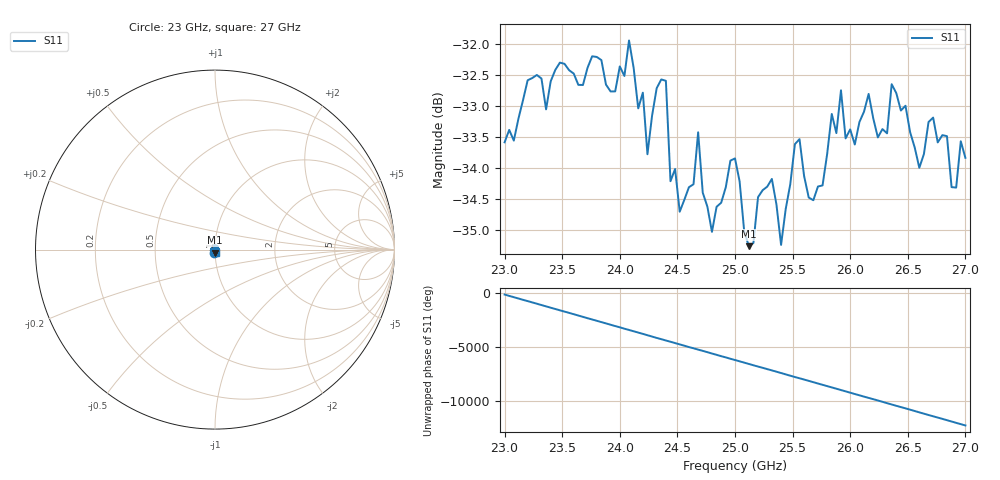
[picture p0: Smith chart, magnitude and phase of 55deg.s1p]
#  HZ  S  RI  R  50.00
! Rohde & Schwarz ZVA40 4Ports - Version 3.90 - 1145.1110k42 SN: 100403
! Date: 2023-09-26 10:44:48
! Measurement: S12
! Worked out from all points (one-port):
!   101 points, 23 GHz to 27 GHz, reference 50 ohm
!   lowest |S11| = -35.3 dB at 25.12 GHz (marker M1), VSWR 1.04, Z = 49.8 - j1.71 ohm
!   |S11| at or under -10 dB: start of sweep to end of sweep
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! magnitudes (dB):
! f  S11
! 23 GHz  -33.6
! 23.52 GHz  -32.3
! 24 GHz  -32.4
! 24.08 GHz  -31.9
! 24.2 GHz  -32.8
! 24.24 GHz  -33.8
! 24.4 GHz  -32.6
! 24.44 GHz  -34.2
! 24.52 GHz  -34.7
! 24.68 GHz  -33.4
! 24.8 GHz  -35.0
! 25 GHz  -33.8
! 25.12 GHz  -35.3
! 25.32 GHz  -34.2
! 25.4 GHz  -35.2
! 25.52 GHz  -33.6
! 25.68 GHz  -34.5
! 25.92 GHz  -32.8
! 26 GHz  -33.4
! 26.16 GHz  -32.8
! 26.32 GHz  -33.4
! 26.36 GHz  -32.7
! 26.52 GHz  -33.4
! 26.6 GHz  -34.0
! 26.72 GHz  -33.2
! 26.84 GHz  -33.5
! 26.88 GHz  -34.3
! 27 GHz  -33.8
